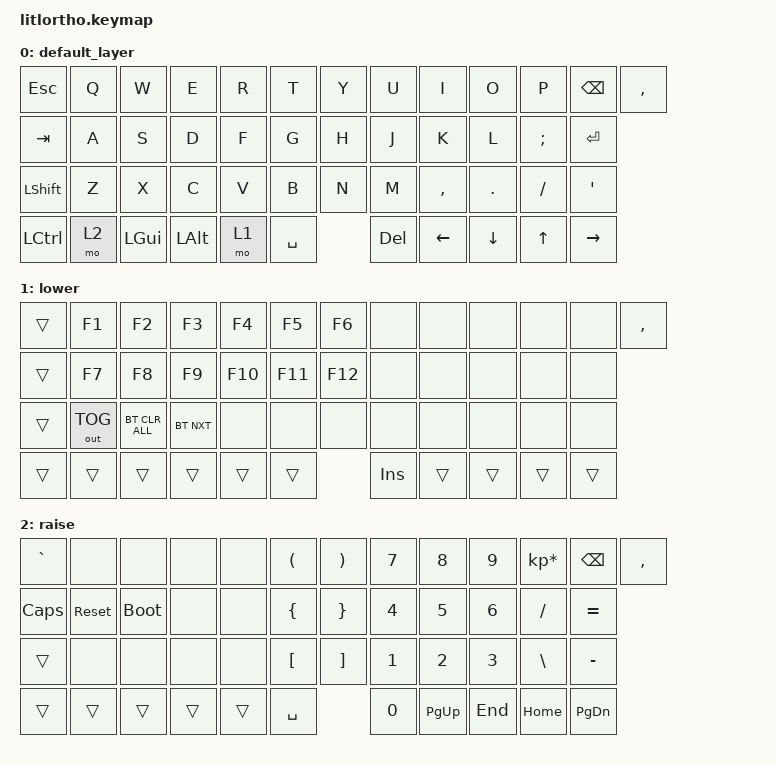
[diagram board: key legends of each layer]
/*
 * Copyright (c) 2020 The ZMK Contributors
 *
 * SPDX-License-Identifier: MIT
 */

 #include <behaviors.dtsi>
 #include <dt-bindings/zmk/keys.h>
 #include <dt-bindings/zmk/bt.h>
 #include <dt-bindings/zmk/outputs.h>

 /* Uncomment this block if using an encoder */
 //&encoder {
 //    status = "okay";
 //};

 / {
     keymap {
          compatible = "zmk,keymap";

          default_layer {
              // -----------------------------------------------------------------------------------------
              // |  ESC  |  Q   |  W   |  E   |  R   |  T   |   Y   |  U    |  I   |  O   |   P   | BSPC  |  KNOB   |  
              // |  TAB  |  A   |  S   |  D   |  F   |  G   |   H   |  J    |  K   |  L   |   ;   |  RET |
              // | SHIFT |  Z   |  X   |  C   |  V   |  B   |   N   |  M    |  ,   |  .   |   /   |  '  |
              // | LCTRL | CODE | LGUI | LALT | NAV  |     SPACE    |  DEL | LEFT | DOWN | UP  |  RIGHT |
              bindings = <
                  &kp ESC   &kp Q &kp W    &kp E    &kp R &kp T &kp Y &kp U   &kp I     &kp O    &kp P     &kp BSPC  &kp COMMA
                  &kp TAB   &kp A &kp S    &kp D    &kp F &kp G &kp H &kp J   &kp K     &kp L    &kp SEMI  &kp RET
                  &kp LSHFT &kp Z &kp X    &kp C    &kp V &kp B &kp N &kp M   &kp COMMA &kp DOT  &kp SLASH &kp SQT
                  &kp LCTRL &mo 2 &kp LGUI &kp LALT &mo 1 &kp SPACE   &kp DEL &kp LEFT  &kp DOWN &kp UP    &kp RIGHT
		/*&kp ESC &kp Q &kp W &kp E &kp R &kp T &kp Y &kp U &kp I &kp O &kp P &kp BSPC*/
              >;
              //sensor-bindings = <&inc_dec_kp C_VOL_UP C_VOL_DN>;
      };

      lower {
          bindings = <
              &trans &kp F1 &kp F2 &kp F3 &kp F4 &kp F5 &kp F6 &none &none  &none &none &none &kp COMMA
              &trans &kp F7 &kp F8 &kp F9 &kp F10 &kp F11 &kp F12 &none &none &none &none &none
              &trans &out OUT_TOG &bt BT_CLR_ALL &bt BT_NXT &none &none &none &none &none &none &none &none
              &trans &trans &trans &trans &trans &trans &kp INS &trans &trans &trans &trans
                 >;
              };

      raise {
           bindings = <
               &kp GRAVE &none &none &none &none &kp LPAR &kp RPAR &kp N7 &kp N8 &kp N9 &kp KP_ASTERISK &kp BSPC &kp COMMA
               &kp CAPS &sys_reset &bootloader &none &none &kp LBRC &kp RBRC &kp N4 &kp N5 &kp N6 &kp SLASH &kp EQUAL
               &trans &none &none &none &none &kp LBKT &kp RBKT &kp N1 &kp N2 &kp N3 &kp BSLH &kp MINUS
               &trans &trans &trans &trans &trans &kp SPACE &kp N0 &kp PG_UP &kp END &kp HOME &kp PG_DN
                  >;
             };
         };
      };
